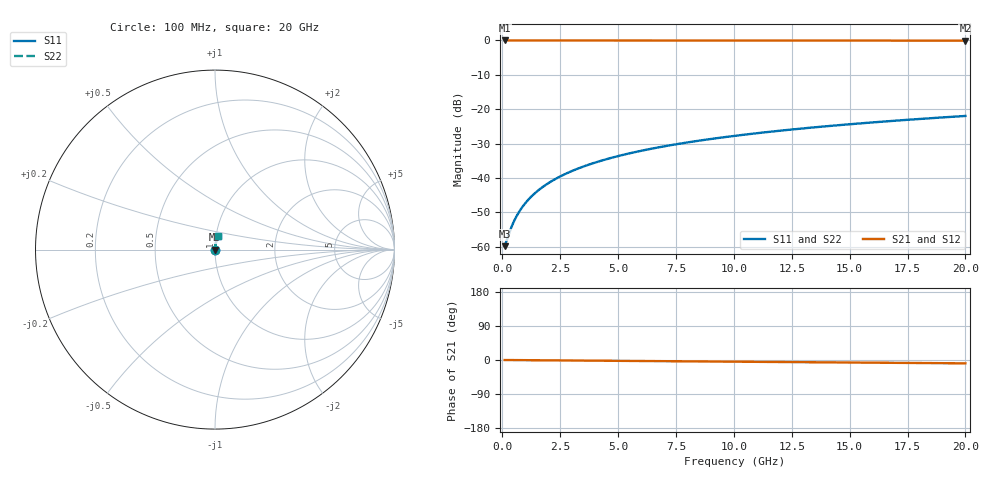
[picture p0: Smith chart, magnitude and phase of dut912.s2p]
! Touchstone file exported from HFSS 2026.1.0
!  File:  C:/ffzhzh/LocalFiles/Ansys_Project_Files/temp_train_TSV_912_1783186407_55132.aedt
!  Generated:  01:35:17 AM Jul  5, 2026
!  Design:  TSV
!  Project:  temp_train_TSV_912_1783186407_55132
! Variables:
!  h_bsmrdl = 2um
!  h_ox = 20um
!  h_rdl = 5um
!  h_sub = 76.1um
!  h_tmrdl = 5um
!  h_tsv = 76.1um
!  h_via = 3um
!  l_bsmrdl = 300um
!  l_sub = 406.22um
!  l_tmrdl = 200um
!  m_sub = 200um
!  pitch = 31.72um
!  r_tsv = 3.11um
!  s_tmrdl = 10um
!  w_bsmrdl = 18um
!  w_sub = 500um
!  w_tmrdl = 12um
!  x_tsv_center1 = 206um
!  x_tsv_center2 = 524um
!  x_tsv_center3 = 736um
!  x_tsv_center4 = 1054um
!  x_tsv_center5 = 1266um
!  x_tsv_center6 = 1584um
# GHz S MA R 50.000000
! Terminal data exported
! Port[1] = TSV1_1_T1
! Port[2] = TSV1_1_T2
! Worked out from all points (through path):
!   200 points, 100 MHz to 20 GHz, reference 50 ohm
!   highest |S21| = -0.01 dB at 100 MHz (marker M1); lowest = -0.1 dB at 20 GHz (marker M2)
!   group delay of S21, straight-line fit = 1.22 ps
!   lowest |S11| = -59.8 dB at 100 MHz (marker M3), VSWR 1.00, Z = 50.1 + j0.0433 ohm
!   |S11| at or under -10 dB: start of sweep to end of sweep
!   |S22| runs from -59.8 to -22.0 dB; largest |S21 - S12| = 2.3e-15
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0.1  0.001022 25.0  0.9991 -0.0  0.9991 -0.0  0.001022 25.0
! Gamma 0 0 0 0
! Port Impedance 50 0 50 0
0.3  0.001596 53.6  0.9991 -0.1  0.9991 -0.1  0.001596 53.6
0.4  0.001957 60.7  0.999 -0.2  0.999 -0.2  0.001957 60.7
0.5  0.002336 65.5  0.999 -0.2  0.999 -0.2  0.002336 65.5
0.6  0.002726 68.9  0.999 -0.3  0.999 -0.3  0.002726 68.9
0.7  0.003122 71.5  0.999 -0.3  0.999 -0.3  0.003122 71.5
0.9  0.003928 75.0  0.999 -0.4  0.999 -0.4  0.003928 75.0
1.2  0.005155 78.2  0.999 -0.5  0.999 -0.5  0.005155 78.2
1.4  0.00598 79.6  0.999 -0.6  0.999 -0.6  0.00598 79.6
1.7  0.007221 81.0  0.9989 -0.8  0.9989 -0.8  0.007221 81.0
2.2  0.009294 82.3  0.9989 -1.0  0.9989 -1.0  0.009294 82.3
2.8  0.01178 83.2  0.9988 -1.3  0.9988 -1.3  0.01178 83.2
3.5  0.01468 83.6  0.9987 -1.6  0.9987 -1.6  0.01468 83.6
4.2  0.01756 83.8  0.9985 -1.9  0.9985 -1.9  0.01756 83.8
5  0.02083 83.8  0.9984 -2.3  0.9984 -2.3  0.02083 83.8
5.9  0.02449 83.7  0.9981 -2.7  0.9981 -2.7  0.02449 83.7
6.8  0.02812 83.5  0.9979 -3.1  0.9979 -3.1  0.02812 83.5
8.3  0.03413 83.1  0.9975 -3.7  0.9975 -3.7  0.03413 83.1
10.1  0.04127 82.5  0.997 -4.5  0.997 -4.5  0.04127 82.5
13.4  0.05424 81.4  0.996 -5.9  0.996 -5.9  0.05424 81.4
16.7  0.06709 80.2  0.9949 -7.4  0.9949 -7.4  0.06709 80.2
20  0.07983 78.9  0.9937 -8.8  0.9937 -8.8  0.07983 78.9
